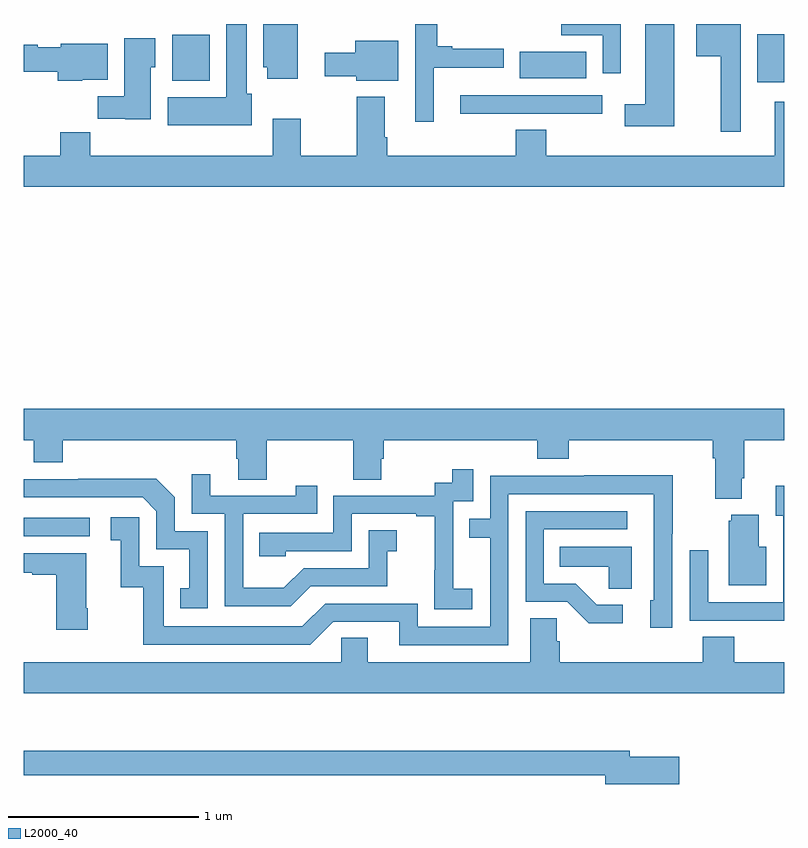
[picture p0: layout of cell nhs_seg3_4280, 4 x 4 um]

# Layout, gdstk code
import gdstk
lib = gdstk.Library(unit=1e-6, precision=1e-09)
def R(c, l, rs):  # rectangles x0, y0, x1, y1
    for r in rs: c.add(gdstk.rectangle(r[:2], r[2:], *l))
def P(c, l, *ps):  # polygons
    for p in ps: c.add(gdstk.Polygon(p, *l))
L2000_40 = (2000, 40)

nhs_seg3_4280 = lib.new_cell('nhs_seg3_4280')
R(nhs_seg3_4280, L2000_40, [(337,737.706,337.348,737.802), (340.859,740.093,341,740.347), (337.781,740.102,337.978,740.344), (339.61,740.114,339.959,740.254)])
P(nhs_seg3_4280, L2000_40, [(340.42,740.4),(340.268,740.4),(340.268,739.979),(340.161,739.979),(340.161,739.862),(340.42,739.862)],
  [(338.2,740.034),(338.173,740.034),(338.173,740.4),(338.066,740.4),(338.066,740.014),(337.757,740.014),(337.757,739.868),(338.2,739.868)],
  [(340.771,740.4),(340.538,740.4),(340.538,740.231),(340.667,740.231),(340.667,739.833),(340.771,739.833)],
  [(339.157,740.171),(339.525,740.171),(339.525,740.271),(339.253,740.271),(339.253,740.284),(339.176,740.284),(339.176,740.4),(339.059,740.4),(339.059,740.365),(339.06,740.365),(339.06,739.887),(339.157,739.887)],
  [(338.44,740.4),(338.261,740.4),(338.261,740.172),(338.282,740.172),(338.282,740.112),(338.44,740.112)],
  [(340.14,740.4),(339.828,740.4),(339.828,740.342),(340.044,740.342),(340.044,740.142),(340.14,740.142)],
  [(337.669,740.172),(337.693,740.172),(337.693,740.326),(337.529,740.326),(337.529,740.02),(337.39,740.02),(337.39,739.902),(337.533,739.902),(337.533,739.898),(337.669,739.898)],
  [(338.971,740.311),(338.744,740.311),(338.744,740.248),(338.583,740.248),(338.583,740.126),(338.748,740.126),(338.748,740.102),(338.971,740.102)],
  [(337.308,740.108),(337.441,740.108),(337.441,740.296),(337.194,740.296),(337.194,740.278),(337.074,740.278),(337.074,740.291),(337,740.291),(337,740.149),(337.178,740.149),(337.178,740.102),(337.308,740.102)],
  [(340.042,740.025),(339.516,740.025),(339.516,740.026),(339.297,740.026),(339.297,739.929),(340.042,739.929)],
  [(341,739.99),(340.949,739.99),(340.949,739.708),(339.747,739.708),(339.747,739.844),(339.587,739.844),(339.587,739.708),(338.912,739.708),(338.912,739.804),(338.899,739.804),(338.899,740.017),(338.752,740.017),(338.752,739.708),(338.457,739.708),(338.457,739.903),(338.309,739.903),(338.309,739.708),(337.349,739.708),(337.349,739.832),(337.193,739.832),(337.193,739.708),(337,739.708),(337,739.544),(341,739.544)],
  [(340.777,738.01),(340.79,738.01),(340.79,738.212),(341,738.212),(341,738.376),(337,738.376),(337,738.212),(337.052,738.212),(337.052,738.095),(337.205,738.095),(337.205,738.212),(338.117,738.212),(338.117,738.114),(338.129,738.114),(338.129,738.004),(338.277,738.004),(338.277,738.212),(338.734,738.212),(338.734,738.004),(338.881,738.004),(338.881,738.114),(338.894,738.114),(338.894,738.212),(339.701,738.212),(339.701,738.113),(339.866,738.113),(339.866,738.212),(340.625,738.212),(340.625,738.116),(340.637,738.116),(340.637,737.903),(340.777,737.903)],
  [(339.358,737.431),(339.26,737.431),(339.26,737.66),(339.258,737.66),(339.258,737.889),(339.363,737.889),(339.363,738.058),(339.255,738.058),(339.255,737.988),(339.162,737.988),(339.162,737.919),(338.628,737.919),(338.628,737.724),(338.239,737.724),(338.239,737.601),(338.379,737.601),(338.379,737.628),(338.724,737.628),(338.724,737.823),(339.065,737.823),(339.065,737.811),(339.161,737.811),(339.161,737.527),(339.16,737.527),(339.16,737.321),(339.358,737.321)],
  [(338.509,737.442),(338.913,737.442),(338.913,737.627),(338.962,737.627),(338.962,737.737),(338.814,737.737),(338.814,737.538),(338.472,737.538),(338.368,737.434),(338.154,737.434),(338.154,737.823),(338.543,737.823),(338.543,737.971),(338.432,737.971),(338.432,737.919),(337.981,737.919),(337.981,738.031),(337.884,738.031),(337.884,737.823),(338.058,737.823),(338.058,737.337),(338.404,737.337)],
  [(339.549,737.928),(340.314,737.928),(340.314,737.37),(340.295,737.37),(340.295,737.226),(340.41,737.226),(340.41,737.719),(340.413,737.719),(340.413,738.026),(339.949,738.026),(339.949,738.024),(339.453,738.024),(339.453,737.799),(339.343,737.799),(339.343,737.698),(339.453,737.698),(339.453,737.229),(339.072,737.229),(339.072,737.352),(338.586,737.352),(338.466,737.232),(337.737,737.232),(337.737,737.547),(337.608,737.547),(337.608,737.806),(337.458,737.806),(337.458,737.685),(337.511,737.685),(337.511,737.439),(337.629,737.439),(337.629,737.136),(338.508,737.136),(338.628,737.256),(338.975,737.256),(338.975,737.133),(339.549,737.133)],
  [(337.968,737.733),(337.794,737.733),(337.794,737.91),(337.696,738.008),(337.288,738.008),(337.288,738.006),(337,738.006),(337,737.91),(337.626,737.91),(337.698,737.838),(337.698,737.637),(337.871,737.637),(337.871,737.433),(337.822,737.433),(337.822,737.328),(337.968,737.328)],
  [(341,737.971),(340.955,737.971),(340.955,737.815),(340.995,737.815),(340.995,737.358),(340.599,737.358),(340.599,737.632),(340.503,737.632),(340.503,737.262),(340.819,737.262),(340.819,737.261),(341,737.261)],
  [(340.15,737.346),(340.015,737.346),(339.904,737.457),(339.735,737.457),(339.735,737.742),(340.174,737.742),(340.174,737.838),(339.639,737.838),(339.639,737.361),(339.858,737.361),(339.971,737.249),(340.15,737.249)],
  [(340.906,737.65),(340.867,737.65),(340.867,737.818),(340.721,737.818),(340.721,737.787),(340.709,737.787),(340.709,737.447),(340.906,737.447)],
  [(340.198,737.65),(339.82,737.65),(339.82,737.546),(340.077,737.546),(340.077,737.431),(340.198,737.431)],
  [(337.338,737.326),(337.33,737.326),(337.33,737.617),(337,737.617),(337,737.513),(337.046,737.513),(337.046,737.503),(337.172,737.503),(337.172,737.214),(337.338,737.214)],
  [(341,737.044),(340.736,737.044),(340.736,737.177),(340.571,737.177),(340.571,737.044),(339.818,737.044),(339.818,737.153),(339.804,737.153),(339.804,737.276),(339.665,737.276),(339.665,737.044),(338.809,737.044),(338.809,737.171),(338.67,737.171),(338.67,737.044),(337,737.044),(337,736.88),(341,736.88)],
  [(340.447,736.545),(340.186,736.545),(340.186,736.579),(337,736.579),(337,736.45),(340.058,736.45),(340.058,736.403),(340.447,736.403)])

lib.write_gds('nhs_seg3_4280.gds')
